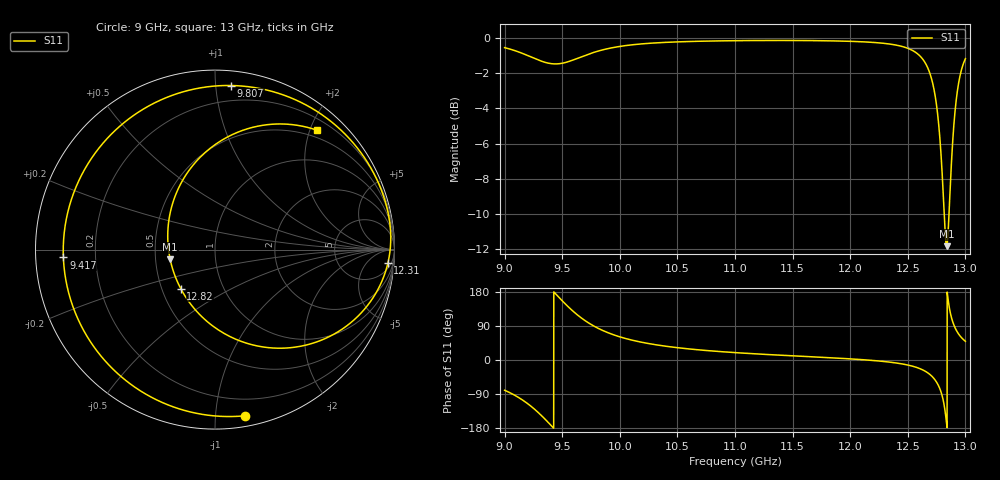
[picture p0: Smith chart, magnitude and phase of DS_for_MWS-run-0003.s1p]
! TOUCHSTONE file generated by CST DESIGN STUDIO
! Date and time: Tue Feb  4 18:03:55 2025
! Project name: C:\Work\MatlabApps\UnitCellOptimizationMatlab\CST\unitcell.cst
! Tree item: Tasks\Sweep1\SPara1\S-Parameters
! Header version: 2024
! Port assignment regex: !\s*Touchstone port\s*([0-9]+)\s*=\s*(CST MWS port|CST DES external port|CST DES block port)\s*(.+)\s* \(\"(.*)\"\)(\s*mode\s*([0-9]+))?.*
! Touchstone port assignment:
! Touchstone port 1 = CST DES external port 1 ("")
# GHz S MA R 50
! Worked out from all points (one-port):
!   4001 points, 9 GHz to 13 GHz, reference 50 ohm
!   lowest |S11| = -11.8 dB at 12.84 GHz (marker M1), VSWR 1.69, Z = 29.9 - j3.48 ohm
!   |S11| at or under -10 dB: 12.81596 GHz to 12.85788 GHz (41.92 MHz wide, 0.327 % of centre)
!   S11 on the Smith chart (normalised r, x): 9 GHz: 0.07, -1.19; 9.417 GHz: 0.08, -0.03; 9.807 GHz: 0.09, +1.10; 12.31 GHz: 9, -21; 12.82 GHz: 0.63, -0.30; 13 GHz: 0.37, +2.11
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9  0.9407 -79.9
9.122  0.9143 -99.1
9.221  0.8873 -120.1
9.332  0.8579 -150.3
9.417  0.8459 -177.1
9.5  0.849 156.3
9.573  0.8623 134.5
9.643  0.8796 116.3
9.807  0.9187 84.4
10  0.9482 61.1
10.215  0.9656 45.3
10.5  0.9768 32.5
11  0.9845 19.5
11.5  0.9858 11.0
12  0.9804 3.0
12.312  0.9659 -4.5
12.5  0.9365 -13.3
12.611  0.8868 -23.5
12.687  0.8029 -36.9
12.728  0.7139 -49.2
12.768  0.5693 -68.7
12.795  0.4308 -90.7
12.822  0.2891 -131.3
12.837  0.2557 -167.7
12.868  0.374 126.1
12.91  0.619 85.3
12.946  0.7606 66.5
13  0.8748 49.5
